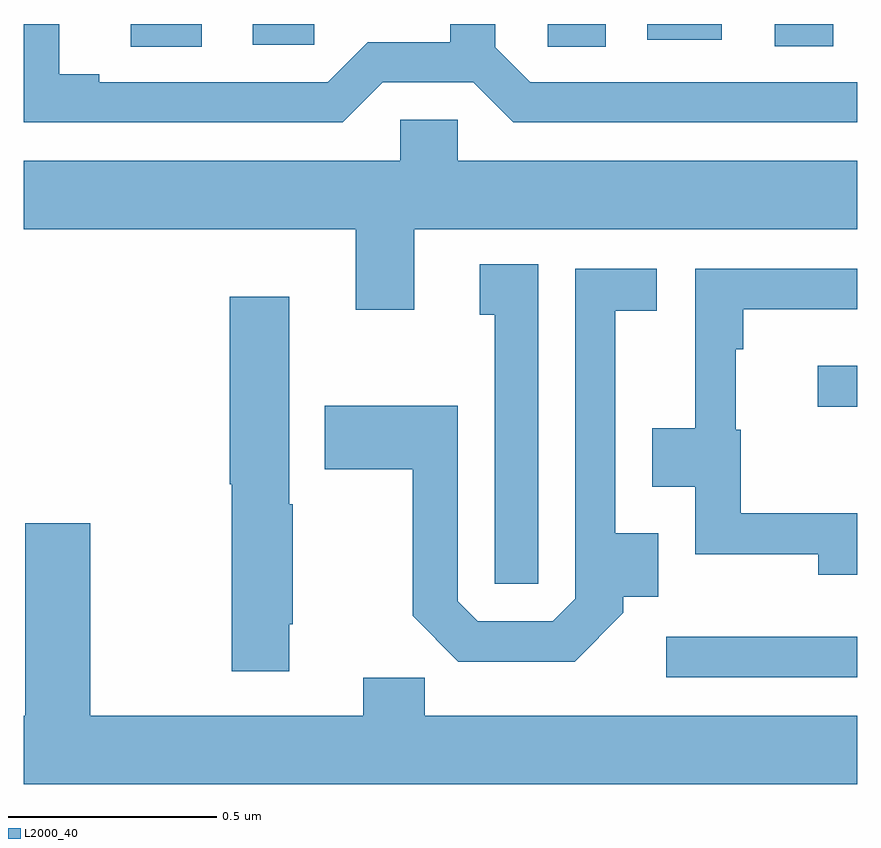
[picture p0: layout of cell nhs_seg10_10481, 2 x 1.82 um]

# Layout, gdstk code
import gdstk
lib = gdstk.Library(unit=1e-6, precision=1e-09)
def R(c, l, rs):  # rectangles x0, y0, x1, y1
    for r in rs: c.add(gdstk.rectangle(r[:2], r[2:], *l))
def P(c, l, *ps):  # polygons
    for p in ps: c.add(gdstk.Polygon(p, *l))
L2000_40 = (2000, 40)

nhs_seg10_10481 = lib.new_cell('nhs_seg10_10481')
R(nhs_seg10_10481, L2000_40, [(244.905,1274.581,245,1274.68), (243.257,1275.445,243.427,1275.5), (244.257,1275.445,244.396,1275.5), (244.802,1275.447,244.942,1275.5), (243.549,1275.45,243.697,1275.5), (244.496,1275.462,244.675,1275.5)])
P(nhs_seg10_10481, L2000_40, [(243.861,1275.36),(244.079,1275.36),(244.175,1275.264),(245,1275.264),(245,1275.36),(244.215,1275.36),(244.131,1275.444),(244.131,1275.5),(244.023,1275.5),(244.023,1275.456),(243.825,1275.456),(243.729,1275.36),(243.181,1275.36),(243.181,1275.38),(243.085,1275.38),(243.085,1275.5),(243,1275.5),(243,1275.264),(243.765,1275.264)],
  [(243.937,1275.008),(245,1275.008),(245,1275.172),(244.041,1275.172),(244.041,1275.27),(243.903,1275.27),(243.903,1275.172),(243,1275.172),(243,1275.008),(243.797,1275.008),(243.797,1274.814),(243.937,1274.814)],
  [(244.234,1274.923),(244.094,1274.923),(244.094,1274.802),(244.13,1274.802),(244.13,1274.157),(244.234,1274.157)],
  [(245,1274.326),(244.72,1274.326),(244.72,1274.526),(244.709,1274.526),(244.709,1274.72),(244.727,1274.72),(244.727,1274.816),(245,1274.816),(245,1274.913),(244.611,1274.913),(244.611,1274.53),(244.508,1274.53),(244.508,1274.39),(244.611,1274.39),(244.611,1274.228),(244.907,1274.228),(244.907,1274.178),(245,1274.178)],
  [(244.439,1274.087),(244.439,1274.126),(244.522,1274.126),(244.522,1274.278),(244.419,1274.278),(244.419,1274.812),(244.519,1274.812),(244.519,1274.913),(244.323,1274.913),(244.323,1274.121),(244.269,1274.067),(244.089,1274.067),(244.041,1274.115),(244.041,1274.584),(243.722,1274.584),(243.722,1274.432),(243.933,1274.432),(243.933,1274.08),(244.042,1273.97),(244.322,1273.97)],
  [(243.637,1274.059),(243.645,1274.059),(243.645,1274.348),(243.637,1274.348),(243.637,1274.845),(243.494,1274.845),(243.494,1274.396),(243.499,1274.396),(243.499,1273.947),(243.637,1273.947)],
  [(245,1273.84),(243.962,1273.84),(243.962,1273.931),(243.815,1273.931),(243.815,1273.84),(243.159,1273.84),(243.159,1274.302),(243.004,1274.302),(243.004,1273.84),(243,1273.84),(243,1273.676),(245,1273.676)],
  [(245,1274.029),(244.82,1274.029),(244.82,1274.03),(244.542,1274.03),(244.542,1273.932),(245,1273.932)])

lib.write_gds('nhs_seg10_10481.gds')
